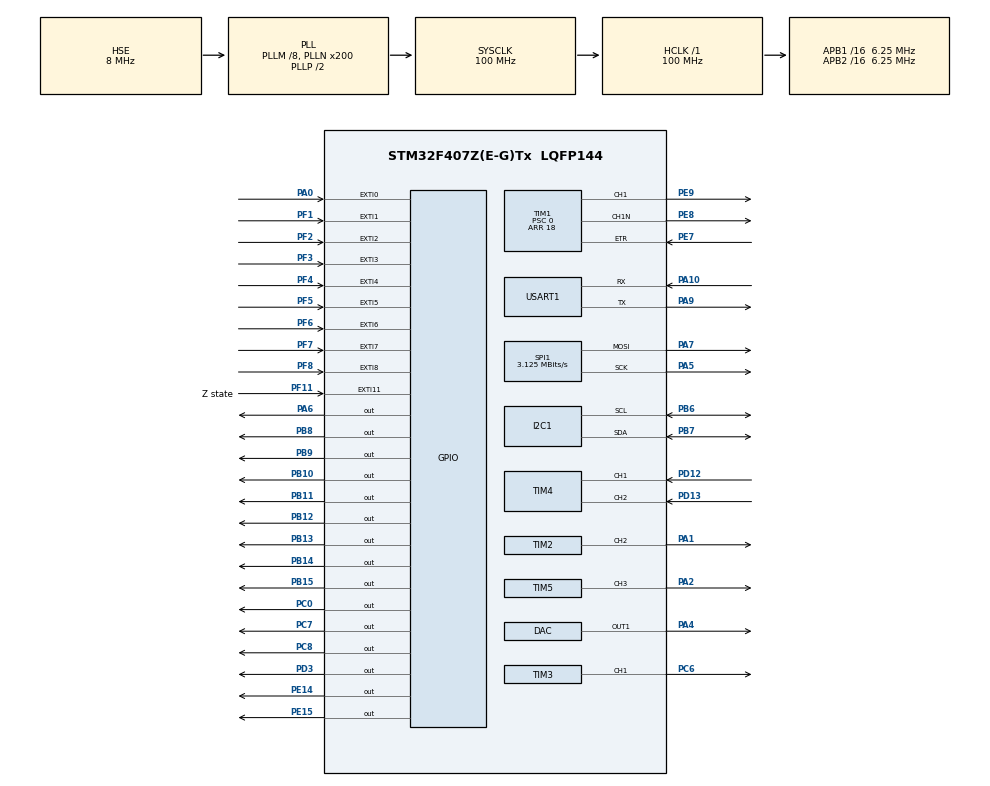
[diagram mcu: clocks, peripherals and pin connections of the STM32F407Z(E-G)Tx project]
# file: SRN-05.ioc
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Mcu.Family=STM32F4
Mcu.Name=STM32F407Z(E-G)Tx
Mcu.Package=LQFP144
NVIC.EXTI15_10_IRQn=true\:0\:0\:false\:false\:true\:true\:true
NVIC.EXTI1_IRQn=true\:2\:0\:true\:false\:true\:true\:true
NVIC.EXTI2_IRQn=true\:2\:0\:true\:false\:true\:true\:true
NVIC.EXTI3_IRQn=true\:2\:0\:true\:false\:true\:true\:true
NVIC.EXTI4_IRQn=true\:2\:0\:true\:false\:true\:true\:true
NVIC.EXTI9_5_IRQn=true\:2\:0\:true\:false\:true\:true\:true
NVIC.PriorityGroup=NVIC_PRIORITYGROUP_4
NVIC.TIM1_CC_IRQn=true\:0\:0\:false\:false\:true\:true\:true
NVIC.TIM1_UP_TIM10_IRQn=true\:0\:0\:false\:false\:true\:true\:true
NVIC.TIM5_IRQn=true\:1\:0\:true\:false\:true\:true\:true
NVIC.TIM6_DAC_IRQn=true\:1\:0\:true\:false\:true\:true\:true
NVIC.USART1_IRQn=true\:0\:0\:false\:false\:true\:true\:true
PA0-WKUP.Signal=GPXTI0
PA1.Signal=S_TIM2_CH2
PA10.Mode=Asynchronous
PA10.Signal=USART1_RX
PA13.Mode=Trace_Synchro_1bit_JTAG
PA13.Signal=SYS_JTMS-SWDIO
PA14.Mode=Trace_Synchro_1bit_JTAG
PA14.Signal=SYS_JTCK-SWCLK
PA15.Mode=Trace_Synchro_1bit_JTAG
PA15.Signal=SYS_JTDI
PA2.GPIO_Speed=GPIO_SPEED_FREQ_LOW
PA2.Signal=S_TIM5_CH3
PA4.Signal=COMP_DAC1_group
PA5.Mode=TX_Only_Simplex_Unidirect_Master
PA5.Signal=SPI1_SCK
PA6.GPIO_PuPd=GPIO_PULLDOWN
PA6.GPIO_Speed=GPIO_SPEED_FREQ_HIGH
PA6.Signal=GPIO_Output
PA7.Mode=TX_Only_Simplex_Unidirect_Master
PA7.Signal=SPI1_MOSI
PA9.Mode=Asynchronous
PA9.Signal=USART1_TX
PB10.Signal=GPIO_Output
PB11.Signal=GPIO_Output
PB12.Signal=GPIO_Output
PB13.Signal=GPIO_Output
PB14.Signal=GPIO_Output
PB15.Signal=GPIO_Output
PB3.Mode=Trace_Synchro_1bit_JTAG
PB3.Signal=SYS_JTDO-SWO
PB6.Mode=I2C
PB6.Signal=I2C1_SCL
PB7.Mode=I2C
PB7.Signal=I2C1_SDA
PB8.Signal=GPIO_Output
PB9.Signal=GPIO_Output
PC0.Signal=GPIO_Output
PC14-OSC32_IN.Mode=LSE-External-Oscillator
PC14-OSC32_IN.Signal=RCC_OSC32_IN
PC15-OSC32_OUT.Mode=LSE-External-Oscillator
PC15-OSC32_OUT.Signal=RCC_OSC32_OUT
PC6.Signal=S_TIM3_CH1
PC7.Signal=GPIO_Output
PC8.Signal=GPIO_Output
PD12.Signal=S_TIM4_CH1
PD13.Signal=S_TIM4_CH2
PD3.Signal=GPIO_Output
PE14.Signal=GPIO_Output
PE15.Signal=GPIO_Output
PE2.Mode=Trace_Synchro_1bit_JTAG
PE2.Signal=SYS_TRACECLK
PE3.Mode=Trace_Synchro_1bit_JTAG
PE3.Signal=SYS_TRACED0
PE7.Signal=S_TIM1_ETR
PE8.Mode=PWM Generation1 CH1 CH1N
PE8.Signal=TIM1_CH1N
PE9.Signal=S_TIM1_CH1
PF1.GPIO_ModeDefaultEXTI=GPIO_MODE_IT_RISING_FALLING
PF1.GPIO_PuPd=GPIO_PULLDOWN
PF1.Signal=GPXTI1
PF11.GPIO_Label=Z state
PF11.Signal=GPXTI11
PF2.GPIO_ModeDefaultEXTI=GPIO_MODE_IT_RISING_FALLING
PF2.GPIO_PuPd=GPIO_PULLDOWN
PF2.Signal=GPXTI2
PF3.GPIO_ModeDefaultEXTI=GPIO_MODE_IT_RISING_FALLING
PF3.GPIO_PuPd=GPIO_PULLDOWN
PF3.Signal=GPXTI3
PF4.GPIO_ModeDefaultEXTI=GPIO_MODE_IT_RISING_FALLING
PF4.GPIO_PuPd=GPIO_PULLDOWN
PF4.Signal=GPXTI4
PF5.GPIO_ModeDefaultEXTI=GPIO_MODE_IT_RISING_FALLING
PF5.GPIO_PuPd=GPIO_PULLDOWN
PF5.Signal=GPXTI5
PF6.GPIO_ModeDefaultEXTI=GPIO_MODE_IT_RISING_FALLING
PF6.GPIO_PuPd=GPIO_PULLDOWN
PF6.Signal=GPXTI6
PF7.GPIO_ModeDefaultEXTI=GPIO_MODE_IT_RISING_FALLING
PF7.GPIO_PuPd=GPIO_PULLDOWN
PF7.Signal=GPXTI7
PF8.GPIO_ModeDefaultEXTI=GPIO_MODE_IT_RISING_FALLING
PF8.GPIO_PuPd=GPIO_PULLDOWN
PF8.Signal=GPXTI8
PH0-OSC_IN.Mode=HSE-External-Oscillator
PH0-OSC_IN.Signal=RCC_OSC_IN
PH1-OSC_OUT.Mode=HSE-External-Oscillator
PH1-OSC_OUT.Signal=RCC_OSC_OUT
ProjectManager.HeapSize=0x200
ProjectManager.StackSize=0x400
ProjectManager.TargetToolchain=MDK-ARM V5
RCC.48MHZClocksFreq_Value=40000000
RCC.AHBFreq_Value=100000000
RCC.APB1CLKDivider=RCC_HCLK_DIV16
RCC.APB1Freq_Value=6250000
RCC.APB1TimFreq_Value=12500000
RCC.APB2CLKDivider=RCC_HCLK_DIV16
RCC.APB2Freq_Value=6250000
RCC.APB2TimFreq_Value=12500000
RCC.CortexFreq_Value=100000000
RCC.HCLKFreq_Value=100000000
RCC.HSE_VALUE=8000000
RCC.HSI_VALUE=16000000
RCC.PLLM=8
RCC.PLLN=200
RCC.PLLQ=5
RCC.PLLSourceVirtual=RCC_PLLSOURCE_HSE
RCC.RCC_RTC_Clock_Source=RCC_RTCCLKSOURCE_LSE
RCC.RCC_RTC_Clock_SourceVirtual=RCC_RTCCLKSOURCE_LSE
RCC.SYSCLKFreq_VALUE=100000000
RCC.SYSCLKSource=RCC_SYSCLKSOURCE_PLLCLK
RCC.VCOOutputFreq_Value=200000000
SH.COMP_DAC1_group.0=DAC_OUT1,DAC_OUT1
SH.S_TIM1_CH1.0=TIM1_CH1,PWM Generation1 CH1 CH1N
SH.S_TIM1_ETR.0=TIM1_ETR,ClockSourceETR_Mode2
SH.S_TIM2_CH2.0=TIM2_CH2,Forced Output2 CH2
SH.S_TIM3_CH1.0=TIM3_CH1,PWM Generation1 CH1
SH.S_TIM4_CH1.0=TIM4_CH1,Encoder_Interface
SH.S_TIM4_CH2.0=TIM4_CH2,Encoder_Interface
SH.S_TIM5_CH3.0=TIM5_CH3,PWM Generation3 CH3
SPI1.BaudRatePrescaler=SPI_BAUDRATEPRESCALER_2
SPI1.CalculateBaudRate=3.125 MBits/s
SPI1.DataSize=SPI_DATASIZE_16BIT
SPI1.Direction=SPI_DIRECTION_2LINES
SPI1.Mode=SPI_MODE_MASTER
SPI1.VirtualType=VM_MASTER
TIM1.Channel-PWM\ Generation1\ CH1\ CH1N=TIM_CHANNEL_1
TIM1.Period=18
TIM1.Prescaler=0
TIM2.Channel-Forced\ Output2\ CH2=TIM_CHANNEL_2
TIM3.Channel-PWM\ Generation1\ CH1=TIM_CHANNEL_1
TIM3.Prescaler=100
TIM5.Channel-PWM\ Generation3\ CH3=TIM_CHANNEL_3
TIM5.Period=1000
TIM5.Prescaler=1250
TIM6.Period=3000
TIM6.Prescaler=25000
USART1.VirtualMode=VM_ASYNC
VP_RTC_VS_RTC_Activate.Mode=RTC_Enabled
VP_RTC_VS_RTC_Calendar.Mode=RTC_Calendar
VP_TIM2_VS_ClockSourceINT.Mode=Internal
VP_TIM2_VS_OPM.Mode=OPM_bit
VP_TIM3_VS_ClockSourceINT.Mode=Internal
VP_TIM6_VS_ClockSourceINT.Mode=Enable_Timer
board=SRN-05

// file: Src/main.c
/**
  ******************************************************************************
  * File Name          : main.c
  * Description        : Main program body
  ******************************************************************************
  ** This notice applies to any and all portions of this file
  * that are not between comment pairs USER CODE BEGIN and
  * USER CODE END. Other portions of this file, whether
  * inserted by the user or by software development tools
  * are owned by their respective copyright owners.
  *
  * COPYRIGHT(c) 2018 STMicroelectronics
  *
  * Redistribution and use in source and binary forms, with or without modification,
  * are permitted provided that the following conditions are met:
  *   1. Redistributions of source code must retain the above copyright notice,
  *      this list of conditions and the following disclaimer.
  *   2. Redistributions in binary form must reproduce the above copyright notice,
  *      this list of conditions and the following disclaimer in the documentation
  *      and/or other materials provided with the distribution.
  *   3. Neither the name of STMicroelectronics nor the names of its contributors
  *      may be used to endorse or promote products derived from this software
  *      without specific prior written permission.
  *
  * THIS SOFTWARE IS PROVIDED BY THE COPYRIGHT HOLDERS AND CONTRIBUTORS "AS IS"
  * AND ANY EXPRESS OR IMPLIED WARRANTIES, INCLUDING, BUT NOT LIMITED TO, THE
  * IMPLIED WARRANTIES OF MERCHANTABILITY AND FITNESS FOR A PARTICULAR PURPOSE ARE
  * DISCLAIMED. IN NO EVENT SHALL THE COPYRIGHT HOLDER OR CONTRIBUTORS BE LIABLE
  * FOR ANY DIRECT, INDIRECT, INCIDENTAL, SPECIAL, EXEMPLARY, OR CONSEQUENTIAL
  * DAMAGES (INCLUDING, BUT NOT LIMITED TO, PROCUREMENT OF SUBSTITUTE GOODS OR
  * SERVICES; LOSS OF USE, DATA, OR PROFITS; OR BUSINESS INTERRUPTION) HOWEVER
  * CAUSED AND ON ANY THEORY OF LIABILITY, WHETHER IN CONTRACT, STRICT LIABILITY,
  * OR TORT (INCLUDING NEGLIGENCE OR OTHERWISE) ARISING IN ANY WAY OUT OF THE USE
  * OF THIS SOFTWARE, EVEN IF ADVISED OF THE POSSIBILITY OF SUCH DAMAGE.
  *
  ******************************************************************************
  */
#include "main.h"
#include "stm32f4xx_hal.h"
#include "dac.h"
#include "i2c.h"
#include "rtc.h"
#include "spi.h"
#include "tim.h"
#include "usart.h"
#include "gpio.h"
#include "string.h"

/* USER CODE BEGIN Includes */
#include "max7219.h"
#include "main.h"
#include "TM_stm32_hd44780.h"
/* USER CODE END Includes */

/* USER CODE BEGIN PV */
/* Private variables ---------------------------------------------------------*/
uint8_t time[4];
uint8_t z_state=0;
uint8_t period_step_up=0;
uint8_t period_step_down=0;
uint16_t coil_counter=0;
uint8_t  active_line=0;
uint8_t  elapsed=0;
float step,real_step_f;
char buf[20];
uint32_t delay_counter_l,delay_counter_r,delay_counter;
uint32_t delay_counter_setup;
uint32_t delay_counter_plus,delay_counter_minus;
uint32_t delay_counter_up,delay_counter_down;
uint16_t coil_break;
uint16_t real_step; // step with error dividing

/* USER CODE END PV */

void SystemClock_Config(void);

/* USER CODE BEGIN PFP */
/* Private function prototypes -----------------------------------------------*/
 int8_t write_to_backup_sram( uint8_t *data, uint16_t bytes, uint16_t offset );
 int8_t read_from_backup_sram( uint8_t *data, uint16_t bytes, uint16_t offset );
 uint8_t Crc8(uint8_t *pcBlock, uint8_t len);
/* USER CODE END PFP */

/* USER CODE BEGIN 0 */
#define ITM_Port8(n)    (*((volatile unsigned char *)(0xE0000000+4*n)))
#define ITM_Port16(n)   (*((volatile unsigned short*)(0xE0000000+4*n)))
#define ITM_Port32(n)   (*((volatile unsigned long *)(0xE0000000+4*n)))
#define DEMCR           (*((volatile unsigned long *)(0xE000EDFC)))
#define TRCENA          0x01000000
#define VALVE_OFF        HAL_GPIO_WritePin(GPIOA,GPIO_PIN_11,GPIO_PIN_SET)
#define VALVE_ON        HAL_GPIO_WritePin(GPIOA,GPIO_PIN_11,GPIO_PIN_RESET)

struct __FILE { int handle; /* Add whatever you need here */ };
FILE __stdout;
FILE __stdin;

int fputc(int ch, FILE *f) {
      if (DEMCR & TRCENA)
				{
        while (ITM_Port32(0) == 0);
        ITM_Port8(0) = ch;
        }
  return(ch);

}

/* USER CODE END 0 */

int main(void)
{

  /* USER CODE BEGIN 1 */
   uint32_t data;
   uint8_t prev_state=0;
   uint8_t pressed=0;
   uint8_t pressed_up=0;
   uint8_t pressed_down=0;
   uint8_t pressed_up_prev=0;
   uint8_t pressed_down_prev=0;
   uint8_t holded=0;
   uint8_t holded_up=0;
   uint8_t holded_down=0;
   uint8_t presed_start_r=0;
   uint8_t presed_start_l=0;
   uint8_t holded_start_r=0;
   uint8_t holded_start_l=0;
   uint8_t presed_start_r_prev=0;
   uint8_t presed_start_l_prev=0;
   uint8_t done=0,up=0;
   uint8_t crc, crc2;
   uint32_t speed;
   uint32_t speed_brake;
	 HAL_StatusTypeDef state;

	 typedef enum {
	   NONE=0,
		 RIGHT=1,
		 LEFT=2,
		 BOTH=3
	 } extra_mode_t;

	 extra_mode_t moving;

	 typedef enum {
	    MAIN_MENU = 0,
		  EXTRA_MENU = 1,
	  }  menu_t;

	 uint8_t menu_changed = 0;

		menu_t active_menu = MAIN_MENU;

	 //new structure with extra step
   typedef struct {
   uint16_t  coil;
   uint16_t   speed;
   uint8_t   divider;
	 float     step;
   float     length;  //main step
   //extra program step
   uint8_t   divider_extra;
	 float     step_extra;
   uint8_t   coil_extra;
   extra_mode_t   extra_mode;
   }  program_t;

   program_t program;
   program_t program_max;
   program_t program_min;

   typedef enum {
   IDLE=0x00,
   SETUP,
   RUN,
   EMERGENCY,
   EXTRA_STEP
   } states;
   states run_state, run_state_prev;

  /* USER CODE END 1 */

  /* MCU Configuration----------------------------------------------------------*/

  /* Reset of all peripherals, Initializes the Flash interface and the Systick. */
  HAL_Init();

  /* Configure the system clock */
  SystemClock_Config();

  /* Initialize all configured peripherals */
  MX_GPIO_Init();
  MX_I2C1_Init();
  MX_SPI1_Init();
  MX_TIM1_Init();
  MX_TIM2_Init();
  MX_RTC_Init();
  MX_USART1_UART_Init();
  MX_TIM4_Init();
  MX_TIM3_Init();
  MX_DAC_Init();
  MX_TIM6_Init();
  MX_TIM5_Init();
  // enable preload for autoreload register
//  (&htim3)->Instance->CR1|=(TIM_CR1_ARPE);
  (&htim5)->Instance->CR1|=(TIM_CR1_ARPE);

  /* USER CODE BEGIN 2 */
    DWT_Init();
    HAL_Delay(300);
    init_max7219(14);
    step=0.29;
    run_state=IDLE;
    HAL_NVIC_DisableIRQ(EXTI1_IRQn);
    HAL_NVIC_DisableIRQ(EXTI2_IRQn);
    printf("Hello from MCU via SWO\n");

    AT_HD44780_CursorOn();
    AT_HD44780_BlinkOn();

    // start-stop motor for initial break
    AT_HD44780_Init(20, 4);
    AT_HD44780_Puts(0, 0, "Запуск");
    HAL_Delay(1000);
    __HAL_TIM_SetCompare(&htim3,TIM_CHANNEL_1,120);
	__HAL_TIM_SetAutoreload(&htim3,250);
      speed=200;
    _Set_Motor_freq(speed);
	HAL_TIM_Base_Start(&htim3);
	HAL_TIM_PWM_Start(&htim3,TIM_CHANNEL_1);
    _Motor_Break_off();
    _Motor_Start();
    HAL_Delay(500);
    _Motor_Break();
	_Motor_Start_off();

    AT_HD44780_Puts(0, 0, "Кол. витков  ");
    AT_HD44780_Puts(0, 1, "Шаг  ");
    AT_HD44780_Puts(0, 2, "Длинна  ");
    AT_HD44780_Puts(0, 3, "Cкорость  ");
    // setup max & min values of programm
    program_max.coil = 9999;
    program_min.coil =1;
    program_max.speed=90;
    program_min.speed=1;
    program_max.step=1.5;
    program_min.step=0.02;

		program_min.coil_extra = 1;
		program_max.coil_extra = 100;
    program_min.step_extra = 0.02;
		program_max.step_extra = 1.0;
		program_min.extra_mode = NONE;
		program_max.extra_mode = BOTH;

    program.coil=0;
    program.step=0;

	//AT_HD44780_PutCustom(19,1, 0xc8);

	 printf("%d %d %d\n", SystemCoreClock,HAL_RCC_GetPCLK1Freq(),HAL_RCC_GetPCLK2Freq());
     //initialize settings from sram memory
     crc=read_from_backup_sram((uint8_t*)&program, sizeof(program),0x01 );
     printf("%04x",crc);
     crc2=Crc8((uint8_t*)&program,sizeof(program));
     printf("%04x",crc2);

     if (crc!=crc2)
      { program.step=0.2;
        program.coil=150;
        program.length=30;
        program.speed=50;
        program.divider=25;
				program.coil_extra = 0;

				program.extra_mode = NONE;
				program.coil_extra = 20;
				program.step_extra = 0.1;
				program.divider_extra = (uint8_t) (5 / (program.step_extra));

      }
     program_max.speed   =  (uint16_t) (25/program.step-3);
     program_max.speed=(program_max.speed>99)?99:program_max.speed;
     sprintf(buf,"%5d",program.coil);
     AT_HD44780_Puts(14,0,buf);
     sprintf(buf,"%5.2f",program.step);
     AT_HD44780_Puts(14,1,buf);
     sprintf(buf,"%5.2f",program.length);
     AT_HD44780_Puts(14,2,buf);
     sprintf(buf,"%5d",program.speed);
     AT_HD44780_Puts(14,3,buf);

     run_state_prev=IDLE;
      _STEPPER_DISABLE();
     displayNumberHigh(program.coil);
     displayNumberLow(0);
     _Motor_Break();
      HAL_Delay(1);
     _Motor_Break_off();
	 _Motor_Start_off();
      run_state=IDLE;

	 // 18 equals 0.28 mm step tim1 use for dividing
	 //initialize divider for stepper

	 // tim3 using for freq generation for owen speed control

     //HAL_TIM_Base_Start_IT(&htim6);

  /* USER CODE END 2 */

  /* Infinite loop */
  while (1)
  {

  /* USER CODE BEGIN 3 */

	// setup mode

    if (run_state==SETUP) {

    _RED_LED_ON();

    if (active_menu == MAIN_MENU) {

	 if		(menu_changed ==1 ) {
		 menu_changed = 0;
		 AT_HD44780_Clear();
    AT_HD44780_Puts(0, 0, "Кол. витков  ");
    AT_HD44780_Puts(0, 1, "Шаг  ");
    AT_HD44780_Puts(0, 2, "Длинна  ");
    AT_HD44780_Puts(0, 3, "Cкорость  ");
		active_line = 0;

		//fill data from structure
     sprintf(buf,"%5d",program.coil);
     AT_HD44780_Puts(14,0,buf);
     sprintf(buf,"%5.2f",program.step);
     AT_HD44780_Puts(14,1,buf);
     sprintf(buf,"%5.2f",program.length);
     AT_HD44780_Puts(14,2,buf);
     sprintf(buf,"%5d",program.speed);
     AT_HD44780_Puts(14,3,buf);
     AT_HD44780_PutCustom(19,active_line, 0xc8);

	 }

    // down button
    if  (HAL_GPIO_ReadPin(GPIOF,GPIO_PIN_3)==GPIO_PIN_RESET)
    {
        pressed_down=1;

    }   else pressed_down=0;

    if (  (HAL_GPIO_ReadPin(GPIOF,GPIO_PIN_3)==GPIO_PIN_RESET) && (pressed_down_prev==0))
    {
            // button presed start counters
            delay_counter_down=0;
            holded_down=1;
            done=0;
    }
    // check holded key
    if ((pressed_down==0)&&(holded_down==1) ) holded_down=0;
    //check short press
    if ((delay_counter_down>10)&&(holded_down==1) && (done==0))
    {
        if (HAL_GPIO_ReadPin(GPIOF,GPIO_PIN_3)==GPIO_PIN_RESET)
            {
        AT_HD44780_PutCustom(19,active_line,' ');
        active_line=(active_line<3)?active_line+1:0;
        if (active_line==2) active_line++;
        AT_HD44780_PutCustom(19,active_line, 0xc8);
        done=1;
           }
    }
    //check long press

        if ( (delay_counter_down>1000) && (holded_down==1)&&(done==1) )
    {
        program.divider= (uint8_t) (5/program.step);
			program.divider_extra = (uint8_t) (5/program.step_extra);
        write_to_backup_sram((uint8_t*)&program, sizeof(program),0x01);
        AT_HD44780_PutCustom(19,active_line,0x20);         // clear pointer sign
        run_state=IDLE;

        printf("run_state-%d",run_state);
        HAL_NVIC_DisableIRQ(EXTI1_IRQn);
        HAL_NVIC_DisableIRQ(EXTI2_IRQn);
        printf("exti disabled");
        holded_down=0;
        holded_up=0;
        _RED_LED_OFF();
        displayNumberHigh(program.coil);
        real_step= ((500/program.divider));
        displayNumberLow(real_step);
         printf("real step=%d",real_step);
       // displayNumberLow(program.divider);
    }

    pressed_down_prev=pressed_down;
   // down buttons end

    // up button
    if  (HAL_GPIO_ReadPin(GPIOF,GPIO_PIN_4)==GPIO_PIN_RESET)
    {
        pressed_up=1;

    }   else pressed_up=0;

    if (  (HAL_GPIO_ReadPin(GPIOF,GPIO_PIN_4)==GPIO_PIN_RESET) && (pressed_up_prev==0))
    {
            // button presed start counters
            delay_counter_up=0;
            holded_up=1;
            up=0;
    }
    // check holded key
    if ((pressed_up==0)&&(holded_up==1) ) holded_up=0;
    //check short press
    if ((delay_counter_up>10)&&(holded_up==1) && (up==0))
    {
        if (HAL_GPIO_ReadPin(GPIOF,GPIO_PIN_4)==GPIO_PIN_RESET)
            {
        AT_HD44780_PutCustom(19,active_line,' ');
        active_line=(active_line>0)?active_line-1:3;
        if (active_line==2) active_line--;
        AT_HD44780_PutCustom(19,active_line, 0xc8);
        up=1;
           }
    }
    //check long press

        if ( (delay_counter_up>1000) && (holded_up==1)&&(up==1) )
    {
        program.divider= (uint8_t) (5/program.step);
			  program.divider_extra = (uint8_t) (5/program.step_extra);
        write_to_backup_sram((uint8_t*)&program, sizeof(program),0x01);

        AT_HD44780_PutCustom(19,active_line,0x20);
        run_state=IDLE;
        printf("run_state-%d",run_state);
        HAL_NVIC_DisableIRQ(EXTI1_IRQn);
        HAL_NVIC_DisableIRQ(EXTI2_IRQn);
        printf("exti disabled");
        holded_down=0;
        holded_up=0;

        _RED_LED_OFF();
        displayNumberHigh(program.coil);
        real_step=500/program.divider;
        displayNumberLow(real_step);
        printf("real step=%d",real_step);
      //  displayNumberLow(program.divider);
    }

    pressed_up_prev=pressed_up;
   // up buttons end

	if (period_step_up==1) {

	    period_step_up=0;
    switch (active_line)
    {
        case 0:
            program.coil= (program.coil<program_max.coil)?program.coil+1:program.coil;
            sprintf(buf,"%5d",program.coil);
            AT_HD44780_Puts(14,active_line,"     ");
	        AT_HD44780_Puts(14,active_line,buf);
            program.length=program.coil*program.step;
            sprintf(buf,"%6.2f",program.length);
            AT_HD44780_Puts(13,2,"      ");
            AT_HD44780_Puts(13,2,buf);

        break;
        case 1:
            program.step= (program.step<program_max.step)?program.step+(float)0.01:program.step;
            sprintf(buf,"%5.2f",program.step);
            AT_HD44780_Puts(14,active_line,"     ");
	        AT_HD44780_Puts(14,active_line,buf);
            program_max.speed = (uint16_t) (25/program.step-3);
            program_max.speed=(program_max.speed>99)?99:program_max.speed;
            if (program.speed>=program_max.speed)
                {
                    program.speed=program_max.speed;
                    sprintf(buf,"%5d",program.speed);
                    AT_HD44780_Puts(14,3,"     ");
	                AT_HD44780_Puts(14,3,buf);

                }
            program.length=program.coil*program.step;
            sprintf(buf,"%6.2f",program.length);
            AT_HD44780_Puts(13,2,"      ");
            AT_HD44780_Puts(13,2,buf);

        break;
        case 3:
            program.speed = (program.speed<=program_max.speed)?program.speed+1:program.speed;
            sprintf(buf,"%5d",program.speed);
            AT_HD44780_Puts(14,active_line,"     ");
	        AT_HD44780_Puts(14,active_line,buf);
        break;
        default: break;

     }//switch
        //speed up timer
        data=__HAL_TIM_GetAutoreload(&htim5);
        if(data>30) data=data-10;
        __HAL_TIM_SetAutoreload(&htim5,data);

	} // if step_up

	if (period_step_down==1) {
	    period_step_down=0;
            switch (active_line)
    {
        case 0:
            program.coil= (program.coil>program_min.coil)?program.coil-1:program.coil;
            sprintf(buf,"%5d",program.coil);
            AT_HD44780_Puts(14,active_line,"     ");
	        AT_HD44780_Puts(14,active_line,buf);
            program.length=program.coil*program.step;
            sprintf(buf,"%6.2f",program.length);
            AT_HD44780_Puts(13,2,"       ");
            AT_HD44780_Puts(13,2,buf);
        break;
        case 1:
            program.step= (program.step>program_min.step)?program.step-(float)0.01:program.step;
            sprintf(buf,"%5.2f",program.step);
            AT_HD44780_Puts(14,active_line,"     ");
	        AT_HD44780_Puts(14,active_line,buf);
            program_max.speed = (uint16_t) (25/program.step-3);
            program_max.speed=(program_max.speed>99)?99:program_max.speed;
            if (program.speed>=program_max.speed)
                {
                    program.speed=program_max.speed;
                    sprintf(buf,"%5d",program.speed);
                    AT_HD44780_Puts(14,3,"     ");
	                AT_HD44780_Puts(14,3,buf);

                }
            program.length=program.coil*program.step;
            sprintf(buf,"%6.2f",program.length);
            AT_HD44780_Puts(13,2,"       ");
            AT_HD44780_Puts(13,2,buf);
        break;
        case 3:
            program.speed = (program.speed>program_min.speed)?program.speed-1:program.speed;
            sprintf(buf,"%5d",program.speed);
            AT_HD44780_Puts(14,active_line,"     ");
	        AT_HD44780_Puts(14,active_line,buf);
        break;
        default:break;

     }//switch
        //speed up timer
        data=__HAL_TIM_GetAutoreload(&htim5);
        if(data>50) data=data-10;
        __HAL_TIM_SetAutoreload(&htim5,data);
       // HAL_TIM_PWM_Start_IT(&htim5,TIM_CHANNEL_3);
        printf("%d /n",data);

	     }     //if step_down

	     if (HAL_GPIO_ReadPin(GPIOF,GPIO_PIN_7)==GPIO_PIN_RESET) {
			    menu_changed = 1;
				  active_menu = EXTRA_MENU;
			}

  }  //MAIN MENU SCREEN

  if (active_menu == EXTRA_MENU) {

			 if		(menu_changed ==1 ) {
		menu_changed = 0;
		AT_HD44780_Clear();
		AT_HD44780_Puts(0, 0, "Дополнительный шаг  ");
		AT_HD44780_Puts(0, 1, "Кол. Витков  ");
    AT_HD44780_Puts(0, 2, "Шаг  ");
    AT_HD44780_Puts(0, 3, "Режим:  ");

		active_line = 1;

		 sprintf(buf,"%5d",program.coil_extra);
     AT_HD44780_Puts(14,1,buf);
     sprintf(buf,"%5.2f",program.step_extra);
     AT_HD44780_Puts(14,2,buf);
     sprintf(buf,"%5d",program.extra_mode);

     switch (program.extra_mode) {
			 case NONE: strcpy(buf,"НЕТ");
			 break;
			 case LEFT: strcpy(buf,"ЛЕВ");
			 break;
			 case RIGHT: strcpy(buf,"ПРВ");
			 break;
			 case BOTH: strcpy(buf, "Л+П");
			 default: break;

		 } //switch

     AT_HD44780_Puts(16,3,buf);
     AT_HD44780_PutCustom(19,active_line, 0xc8);
			 } // menu changed

		     // down button
    if  (HAL_GPIO_ReadPin(GPIOF,GPIO_PIN_3)==GPIO_PIN_RESET)
    {
        pressed_down=1;

    }   else pressed_down=0;

    if (  (HAL_GPIO_ReadPin(GPIOF,GPIO_PIN_3)==GPIO_PIN_RESET) && (pressed_down_prev==0))
    {
            // button presed start counters
            delay_counter_down=0;
            holded_down=1;
            done=0;
    }
    // check holded key
    if ((pressed_down==0)&&(holded_down==1) ) holded_down=0;
    //check short press
    if ((delay_counter_down>10)&&(holded_down==1) && (done==0))
    {
        if (HAL_GPIO_ReadPin(GPIOF,GPIO_PIN_3)==GPIO_PIN_RESET)
            {
        AT_HD44780_PutCustom(19,active_line,' ');
        active_line=(active_line<3)?active_line+1:1;
        AT_HD44780_PutCustom(19,active_line, 0xc8);
        done=1;
           }
    }
    //check long press

        if ( (delay_counter_down>1000) && (holded_down==1)&&(done==1) )
    {
        program.divider= (uint8_t) (5/program.step);
			  program.divider_extra = (uint8_t) (5/program.step_extra);
        write_to_backup_sram((uint8_t*)&program, sizeof(program),0x01);
        AT_HD44780_PutCustom(19,active_line,0x20);         // clear pointer sign
        run_state=IDLE;

        printf("run_state-%d",run_state);
        HAL_NVIC_DisableIRQ(EXTI1_IRQn);
        HAL_NVIC_DisableIRQ(EXTI2_IRQn);
        printf("exti disabled");
        holded_down=0;
        holded_up=0;
        _RED_LED_OFF();
        displayNumberHigh(program.coil);
        real_step= ((500/program.divider));
        displayNumberLow(real_step);
         printf("real step=%d",real_step);
       // displayNumberLow(program.divider);
    }

    pressed_down_prev=pressed_down;
   // down buttons end

    // up button
    if  (HAL_GPIO_ReadPin(GPIOF,GPIO_PIN_4)==GPIO_PIN_RESET)
    {
        pressed_up=1;

    }   else pressed_up=0;

    if (  (HAL_GPIO_ReadPin(GPIOF,GPIO_PIN_4)==GPIO_PIN_RESET) && (pressed_up_prev==0))
    {
            // button presed start counters
            delay_counter_up=0;
            holded_up=1;
            up=0;
    }
    // check holded key
    if ((pressed_up==0)&&(holded_up==1) ) holded_up=0;
    //check short press
    if ((delay_counter_up>10)&&(holded_up==1) && (up==0))
    {
        if (HAL_GPIO_ReadPin(GPIOF,GPIO_PIN_4)==GPIO_PIN_RESET)
            {
        AT_HD44780_PutCustom(19,active_line,' ');
        active_line=(active_line>1)?active_line-1:3;
        AT_HD44780_PutCustom(19,active_line, 0xc8);
        up=1;
           }
    }
    //check long press

        if ( (delay_counter_up>1000) && (holded_up==1)&&(up==1) )
    {
        program.divider= (uint8_t) (5/program.step);
			  program.divider_extra = (uint8_t) (5/program.step_extra);
        write_to_backup_sram((uint8_t*)&program, sizeof(program),0x01);

        AT_HD44780_PutCustom(19,active_line,0x20);
        run_state=IDLE;
        printf("run_state-%d",run_state);
        HAL_NVIC_DisableIRQ(EXTI1_IRQn);
        HAL_NVIC_DisableIRQ(EXTI2_IRQn);
        printf("exti disabled");
        holded_down=0;
        holded_up=0;

        _RED_LED_OFF();
        displayNumberHigh(program.coil);
        real_step=500/program.divider;
        displayNumberLow(real_step);
        printf("real step=%d",real_step);
      //  displayNumberLow(program.divider);
    }

    pressed_up_prev=pressed_up;
   // up buttons end

   //+ -  buttons

   	if (period_step_up==1) {

	    period_step_up=0;
    switch (active_line)
    {
        case 1:
            program.coil_extra= (program.coil_extra<program_max.coil_extra)?program.coil_extra+1:program.coil_extra;
            sprintf(buf,"%5d",program.coil_extra);
            AT_HD44780_Puts(14,active_line,"     ");
	          AT_HD44780_Puts(14,active_line,buf);
       break;

        case 2:
            program.step_extra = (program.step_extra < program_max.step_extra )?program.step_extra + (float)0.01:program.step_extra;
            sprintf(buf,"%5.2f",program.step_extra);
            AT_HD44780_Puts(14,active_line,"     ");
	          AT_HD44780_Puts(14,active_line,buf);
        break;

        case 3:
            program.extra_mode = (program.extra_mode < program_max.extra_mode )? program.extra_mode +1:program.extra_mode;

            AT_HD44780_Puts(14,active_line,"     ");
				     switch (program.extra_mode) {
			           case NONE: strcpy(buf,"НЕТ");
			           break;
			           case LEFT: strcpy(buf,"ЛЕВ");
			           break;
			           case RIGHT: strcpy(buf,"ПРВ");
			           break;
			           case BOTH: strcpy(buf, "Л+П");
			     default: break;

		 } //switch
	        AT_HD44780_Puts(16,active_line,buf);
        break;

        default: break;

     }//switch
        //speed up timer
        data=__HAL_TIM_GetAutoreload(&htim5);
        if(data>30) data=data-10;
        __HAL_TIM_SetAutoreload(&htim5,data);

	} // if step_up

	if (period_step_down==1) {
	    period_step_down=0;
            switch (active_line)
    {
        case 1:
            program.coil_extra= (program.coil_extra > program_min.coil_extra) ? program.coil_extra-1:program.coil_extra;
            sprintf(buf,"%5d",program.coil_extra);
            AT_HD44780_Puts(14,active_line,"     ");
	          AT_HD44780_Puts(14,active_line,buf);

        break;

        case 2:
            program.step_extra = (program.step_extra>program_min.step_extra)?program.step_extra -(float)0.01:program.step_extra;
            sprintf(buf,"%5.2f",program.step_extra);
            AT_HD44780_Puts(14,active_line,"     ");
	        AT_HD44780_Puts(14,active_line,buf);
        break;

				case 3:
            program.extra_mode = (program.extra_mode > program_min.extra_mode) ? program.extra_mode-1:program.extra_mode;
             AT_HD44780_Puts(14,active_line,"     ");
				     switch (program.extra_mode) {
			           case NONE: strcpy(buf,"НЕТ");
			           break;
			           case LEFT: strcpy(buf,"ЛЕВ");
			           break;
			           case RIGHT: strcpy(buf,"ПРВ");
			           break;
			           case BOTH: strcpy(buf, "Л+П");
			     default: break;

		 } //switch
	        AT_HD44780_Puts(16,active_line,buf);
        break;
        default:break;

     }//switch
        //speed up timer
        data=__HAL_TIM_GetAutoreload(&htim5);
        if(data>50) data=data-10;
        __HAL_TIM_SetAutoreload(&htim5,data);
       // HAL_TIM_PWM_Start_IT(&htim5,TIM_CHANNEL_3);
        printf("%d /n",data);

	     }     //if step_down

   //+- buttons

     if (HAL_GPIO_ReadPin(GPIOF,GPIO_PIN_5)==GPIO_PIN_RESET) 	{
			 active_menu = MAIN_MENU;
			 menu_changed = 1;
		 }

	}//EXTRA MENU

}  // end setup mode

    // idle mode

if (run_state==IDLE)  {
//	 butons pressed together
     _GREEN_LED_ON();
   if ((HAL_GPIO_ReadPin(GPIOF,GPIO_PIN_3)==GPIO_PIN_RESET) &&  ( HAL_GPIO_ReadPin(GPIOF,GPIO_PIN_4)==GPIO_PIN_RESET) )
        pressed=1;
           else pressed=0;

   if ((pressed==1) && (prev_state==0) )
   {

            //how much time buttons pressed?

            delay_counter_setup=0;
            holded=1;
       }
   if ((pressed==0) && (holded==1)) holded=0;
             // delay counter updates in the systick handler func

                if ((delay_counter_setup>1000)  && (holded==1))
            {
                 printf("holded setup\n");
                 if ((HAL_GPIO_ReadPin(GPIOF,GPIO_PIN_3)==GPIO_PIN_RESET) && ( HAL_GPIO_ReadPin(GPIOF,GPIO_PIN_4)==GPIO_PIN_RESET) )
                      {

                delay_counter_setup=0;
                pressed_down_prev=1;
                pressed_up_prev=1;
                run_state=SETUP;
                _GREEN_LED_OFF();
                active_line=0;
                printf("second stage\n");
                printf("state-%d",run_state);
                AT_HD44780_PutCustom(19,active_line, 0xc8);
                HAL_NVIC_EnableIRQ(EXTI1_IRQn);
                HAL_NVIC_EnableIRQ(EXTI2_IRQn);
                holded=0;
                     }
            }
         prev_state=pressed;

       // start/direction buttons

       // start right
       if (HAL_GPIO_ReadPin(GPIOF,GPIO_PIN_5)==GPIO_PIN_RESET)

              presed_start_r=1;
               else presed_start_r=0;
       if ((presed_start_r==1) && (presed_start_r_prev==0))
       {
         delay_counter_r=0;
         holded_start_r=1;
       }
       if ((presed_start_r==0) && (holded_start_r==1))  holded_start_r=0;

       if ( (delay_counter_r>500) && (holded_start_r==1) )
       {
             printf("st.R");
             holded_start_r=0;
             run_state=RUN;
            _GREEN_LED_OFF();
           _STEPPER_RIGHT();
				   moving = LEFT;  //switched mode names
       }

       //start left
       if (HAL_GPIO_ReadPin(GPIOF,GPIO_PIN_7)==GPIO_PIN_RESET)

              presed_start_l=1;
               else presed_start_l=0;
       if ((presed_start_l==1) && (presed_start_l_prev==0))
       {
         delay_counter_l=0;
         holded_start_l=1;
       }
       if ((presed_start_l==0) && (holded_start_l==1))  holded_start_l=0;

       if ( (delay_counter_l>500) && (holded_start_l==1) )
       {
             printf("st L");
             holded_start_l=0;
             run_state=RUN;
            _GREEN_LED_OFF();
             _STEPPER_LEFT();
             moving = RIGHT;	//switched mode names (button F5 F7 incorect names )
       }

       presed_start_l_prev=presed_start_l;
       presed_start_r_prev=presed_start_r;

        }      // end idle mode

      //run mode

    if (run_state==RUN)  {
        _BLUE_LED_ON();
        if (run_state_prev!=RUN)
        {

         __HAL_TIM_SetCompare(&htim3,TIM_CHANNEL_1,120);
	     __HAL_TIM_SetAutoreload(&htim3,250);

         speed= (program.speed<30)?program.speed*25:program.speed*7;
         _Set_Motor_freq(speed);
	       HAL_TIM_Base_Start(&htim3);
	       HAL_TIM_PWM_Start(&htim3,TIM_CHANNEL_1);
          //  (&htim3)->Instance->CR1|=(TIM_CR1_ARPE);

              __HAL_TIM_SetCounter(&htim1,0UL);
					    __HAL_TIM_SetCompare(&htim1,TIM_CHANNEL_1,program.divider-1);
	            __HAL_TIM_SetAutoreload(&htim1,program.divider);

	       state = HAL_TIM_PWM_Start(&htim1,TIM_CHANNEL_1);
				 printf("\r\n HAL STATE  %d\r\n",state);
          coil_counter=0;
         printf("\r\n divider %d speed %d\r \n ",program.divider, speed);
          _Motor_Break_off();
					 _STEPPER_ENABLE();
           HAL_Delay(20);
          _Motor_Start();

         coil_break = (uint16_t) program.coil- (uint16_t)program.speed*0.25 ;
         printf("coil_break=%d\n",coil_break);
         printf("divider=%d\n",program.divider);
        }    //first run

       if (z_state==1) {

			//printf("c=%d\n", coil_counter);
			displayNumberLow(coil_counter);
			z_state=0;

			// test for speed changes
		    if ((coil_counter > 5)  && (coil_counter <9) )
                {
                speed=program.speed*50;
			          _Set_Motor_freq( speed);
                printf("speed_max=%d\n",speed);
                printf("prescaller=%d\n",(&htim3)->Instance->PSC);
				}

            // breaking mode near stop
				if (coil_counter == coil_break )
					{

                    speed_brake=program.speed*6;
                    speed_brake=(speed_brake>500)?speed_brake:500;

					          _Set_Motor_freq(speed_brake);
                    printf("stop=%d , %d \n",coil_counter,speed_brake);

				}

				if (coil_counter == program.coil ) {
                    _Motor_Start_off();
                    _Motor_Break();
                     HAL_TIM_PWM_Stop(&htim1,TIM_CHANNEL_1);

                     if ((program.extra_mode & moving) != 0){
											   displayNumberHigh(program.coil_extra);
										   run_state = EXTRA_STEP;
											 HAL_TIM_PWM_Stop(&htim1,TIM_CHANNEL_1);
											 _STEPPER_DISABLE();
											 HAL_Delay(700);
											 _Set_Motor_freq(1000); //extra step speed fixed
											 displayNumberHigh(program.coil_extra);
											  printf("extra step=%d  \n",program.extra_mode);
											  }
                    else {
										displayNumberHigh(program.coil);
           					run_state=IDLE;
								     HAL_TIM_PWM_Stop(&htim1,TIM_CHANNEL_1);
                    _BLUE_LED_OFF();
                    _STEPPER_DISABLE();
                    _Set_Motor_freq(500);
										}
				} //

			} //z_state=1

     //check emergency stop
     if (HAL_GPIO_ReadPin(GPIOF,GPIO_PIN_6)==GPIO_PIN_RESET)

            {

                    _Motor_Start_off();
                    _Motor_Break();
                     HAL_TIM_PWM_Stop(&htim1,TIM_CHANNEL_1);
					           run_state=IDLE;
                    _BLUE_LED_OFF();
                    _STEPPER_DISABLE();
							      HAL_TIM_Base_Stop(&htim1);
                     HAL_Delay(1);
                    _Set_Motor_freq(500);

            }

        }   // end run mode

			if  (run_state == EXTRA_STEP)
			{

				//init for extra step

				if (run_state_prev!=EXTRA_STEP)
        {

         printf("extra step init\r\n");

           printf("\r\nExtra step divider %d speed %d\r \n ",program.divider_extra, speed);

        }

				// buttons in extra mode
				// start right
       if (HAL_GPIO_ReadPin(GPIOF,GPIO_PIN_5)==GPIO_PIN_RESET)
              presed_start_r=1;
               else presed_start_r=0;

       if ((presed_start_r==1) && (presed_start_r_prev==0))
       {
         delay_counter_r=0;
         holded_start_r=1;
       }
       if ((presed_start_r==0) && (holded_start_r==1))  holded_start_r=0;

       if ( (delay_counter_r>500) && (holded_start_r==1) && (moving == LEFT)  )
       {
             printf("extra.R");
				     displayNumberLow(0);
             holded_start_r=0;
				     	       HAL_TIM_PWM_Start(&htim3,TIM_CHANNEL_1);
          //  (&htim3)->Instance->CR1|=(TIM_CR1_ARPE);
				 __HAL_TIM_SetCounter(&htim1,0UL);
	    __HAL_TIM_SetCompare(&htim1,TIM_CHANNEL_1,program.divider_extra-1);
	    __HAL_TIM_SetAutoreload(&htim1,program.divider_extra);

	      HAL_TIM_PWM_Start(&htim1,TIM_CHANNEL_1);
          coil_counter=0;

             _STEPPER_RIGHT();
             _STEPPER_ENABLE();
             _Motor_Break_off();
             _Motor_Start();

       }

       //start left
       if (HAL_GPIO_ReadPin(GPIOF,GPIO_PIN_7)==GPIO_PIN_RESET)

              presed_start_l=1;
               else presed_start_l=0;
       if ((presed_start_l==1) && (presed_start_l_prev==0))
       {
         delay_counter_l=0;
         holded_start_l=1;
       }
       if ((presed_start_l==0) && (holded_start_l==1))  holded_start_l=0;

       if ( (delay_counter_l>500) && (holded_start_l==1)  && (moving == RIGHT)  )
       {
             printf("extra  L");
				      displayNumberLow(0);
				 	       HAL_TIM_PWM_Start(&htim3,TIM_CHANNEL_1);
          //  (&htim3)->Instance->CR1|=(TIM_CR1_ARPE);
       __HAL_TIM_SetCounter(&htim1,0UL);
	    __HAL_TIM_SetCompare(&htim1,TIM_CHANNEL_1,program.divider_extra-1);
	    __HAL_TIM_SetAutoreload(&htim1,program.divider_extra);

	      HAL_TIM_PWM_Start(&htim1,TIM_CHANNEL_1);
          coil_counter=0;
             holded_start_l=0;
            _STEPPER_LEFT();
            _STEPPER_ENABLE();
            _Motor_Break_off();
            _Motor_Start();
       }

       presed_start_l_prev=presed_start_l;
       presed_start_r_prev=presed_start_r;

           //check emergency stop
     if (HAL_GPIO_ReadPin(GPIOF,GPIO_PIN_6)==GPIO_PIN_RESET)
            {
                    _Motor_Start_off();
                    _Motor_Break();
                    displayNumberHigh(program.coil);
					           run_state=IDLE;
                    _BLUE_LED_OFF();
                    _STEPPER_DISABLE();
							      HAL_TIM_PWM_Stop(&htim1,TIM_CHANNEL_1);
                     HAL_Delay(1);
                    _Set_Motor_freq(500);
             }

			 if (z_state==1) {

			displayNumberLow(coil_counter);
			z_state=0;

      if ( coil_counter >= program.coil_extra  ) {

				            _Motor_Start_off();
                    _Motor_Break();
					           run_state=IDLE;
				            displayNumberHigh(program.coil);
                    _BLUE_LED_OFF();
                    _STEPPER_DISABLE();
				             HAL_TIM_PWM_Stop(&htim1,TIM_CHANNEL_1);
                     HAL_Delay(1);
                    _Set_Motor_freq(500);
			}

		}

			} //end extra step mode

       run_state_prev=run_state;

        HAL_Delay(1);
	}     //end while

  /* USER CODE END 3 */

}

/** System Clock Configuration
*/
void SystemClock_Config(void)
{

  RCC_OscInitTypeDef RCC_OscInitStruct;
  RCC_ClkInitTypeDef RCC_ClkInitStruct;
  RCC_PeriphCLKInitTypeDef PeriphClkInitStruct;

    /**Configure the main internal regulator output voltage
    */
  __HAL_RCC_PWR_CLK_ENABLE();

  __HAL_PWR_VOLTAGESCALING_CONFIG(PWR_REGULATOR_VOLTAGE_SCALE1);

    /**Initializes the CPU, AHB and APB busses clocks
    */
  RCC_OscInitStruct.OscillatorType = RCC_OSCILLATORTYPE_HSE|RCC_OSCILLATORTYPE_LSE;
  RCC_OscInitStruct.HSEState = RCC_HSE_ON;
  RCC_OscInitStruct.LSEState = RCC_LSE_ON;
  RCC_OscInitStruct.PLL.PLLState = RCC_PLL_ON;
  RCC_OscInitStruct.PLL.PLLSource = RCC_PLLSOURCE_HSE;
  RCC_OscInitStruct.PLL.PLLM = 8;
  RCC_OscInitStruct.PLL.PLLN = 200;
  RCC_OscInitStruct.PLL.PLLP = RCC_PLLP_DIV2;
  RCC_OscInitStruct.PLL.PLLQ = 5;
  if (HAL_RCC_OscConfig(&RCC_OscInitStruct) != HAL_OK)
  {
    _Error_Handler(__FILE__, __LINE__);
  }

    /**Initializes the CPU, AHB and APB busses clocks
    */
  RCC_ClkInitStruct.ClockType = RCC_CLOCKTYPE_HCLK|RCC_CLOCKTYPE_SYSCLK
                              |RCC_CLOCKTYPE_PCLK1|RCC_CLOCKTYPE_PCLK2;
  RCC_ClkInitStruct.SYSCLKSource = RCC_SYSCLKSOURCE_PLLCLK;
  RCC_ClkInitStruct.AHBCLKDivider = RCC_SYSCLK_DIV1;
  RCC_ClkInitStruct.APB1CLKDivider = RCC_HCLK_DIV16;
  RCC_ClkInitStruct.APB2CLKDivider = RCC_HCLK_DIV16;

  if (HAL_RCC_ClockConfig(&RCC_ClkInitStruct, FLASH_LATENCY_3) != HAL_OK)
  {
    _Error_Handler(__FILE__, __LINE__);
  }

  PeriphClkInitStruct.PeriphClockSelection = RCC_PERIPHCLK_RTC;
  PeriphClkInitStruct.RTCClockSelection = RCC_RTCCLKSOURCE_LSE;
  if (HAL_RCCEx_PeriphCLKConfig(&PeriphClkInitStruct) != HAL_OK)
  {
    _Error_Handler(__FILE__, __LINE__);
  }

    /**Configure the Systick interrupt time
    */
  HAL_SYSTICK_Config(HAL_RCC_GetHCLKFreq()/1000);

    /**Configure the Systick
    */
  HAL_SYSTICK_CLKSourceConfig(SYSTICK_CLKSOURCE_HCLK);

  /* SysTick_IRQn interrupt configuration */
  HAL_NVIC_SetPriority(SysTick_IRQn, 0, 0);
}

/* USER CODE BEGIN 4 */

int8_t write_to_backup_sram( uint8_t *data, uint16_t bytes, uint16_t offset ) {
  const uint16_t backup_size = 0x1000;
  uint8_t* base_addr = (uint8_t *) BKPSRAM_BASE;
  uint16_t i;
  uint8_t crc;
  if( bytes + offset >= backup_size ) {
    /* ERROR : the last byte is outside the backup SRAM region */
    return -1;
  }

  /* disable backup domain write protection */

  /** enable the backup regulator (used to maintain the backup SRAM content in
    * standby and Vbat modes).  NOTE : this bit is not reset when the device
    * wakes up from standby, system reset or power reset. You can check that
    * the backup regulator is ready on PWR->CSR.brr, see rm p144 */

  for( i = 0; i < bytes; i++ ) {
    *(base_addr + offset + i) = *(data + i);
  }
  i++;
  crc =  Crc8(data, bytes);
   *(base_addr + offset + i) =  crc;
  //HAL_PWREx_DisableBkUpReg(); // reset PWR->CR.dbp = 0;
  return crc;
}

int8_t read_from_backup_sram( uint8_t *data, uint16_t bytes, uint16_t offset ) {
  const uint16_t backup_size = 0x1000;
  uint8_t* base_addr = (uint8_t *) BKPSRAM_BASE;
  uint16_t i;
  uint8_t crc;
  uint8_t crc_sram;

  if( bytes + offset >= backup_size ) {
    /* ERROR : the last byte is outside the backup SRAM region */
    return -1;
  }

  for( i = 0; i < bytes; i++ ) {
    *(data + i) = *(base_addr + offset + i);
  }
  i++;
  crc_sram =  *(base_addr + offset + i);
  crc= Crc8(data, bytes);

  return crc_sram;
}

/*
  Name  : CRC-8
  Poly  : 0x31    x^8 + x^5 + x^4 + 1
  Init  : 0xFF
  Revert: false
  XorOut: 0x00
  Check : 0xF7 ("123456789")
  MaxLen: 15 байт(127 бит) - обнаружение
    одинарных, двойных, тройных и всех нечетных ошибок
*/
uint8_t Crc8(uint8_t *pcBlock, uint8_t len)
{
    uint8_t crc = 0xFF;
    uint8_t i;

    while (len--)
    {
        crc ^= *pcBlock++;

        for (i = 0; i < 8; i++)
            crc = crc & 0x80 ? (crc << 1) ^ 0x31 : crc << 1;
    }

    return crc;
}

/* USER CODE END 4 */

void _Error_Handler(char * file, int line)
{
  while(1)
  {
  }
}

/************************ (C) COPYRIGHT STMicroelectronics *****END OF FILE****/
